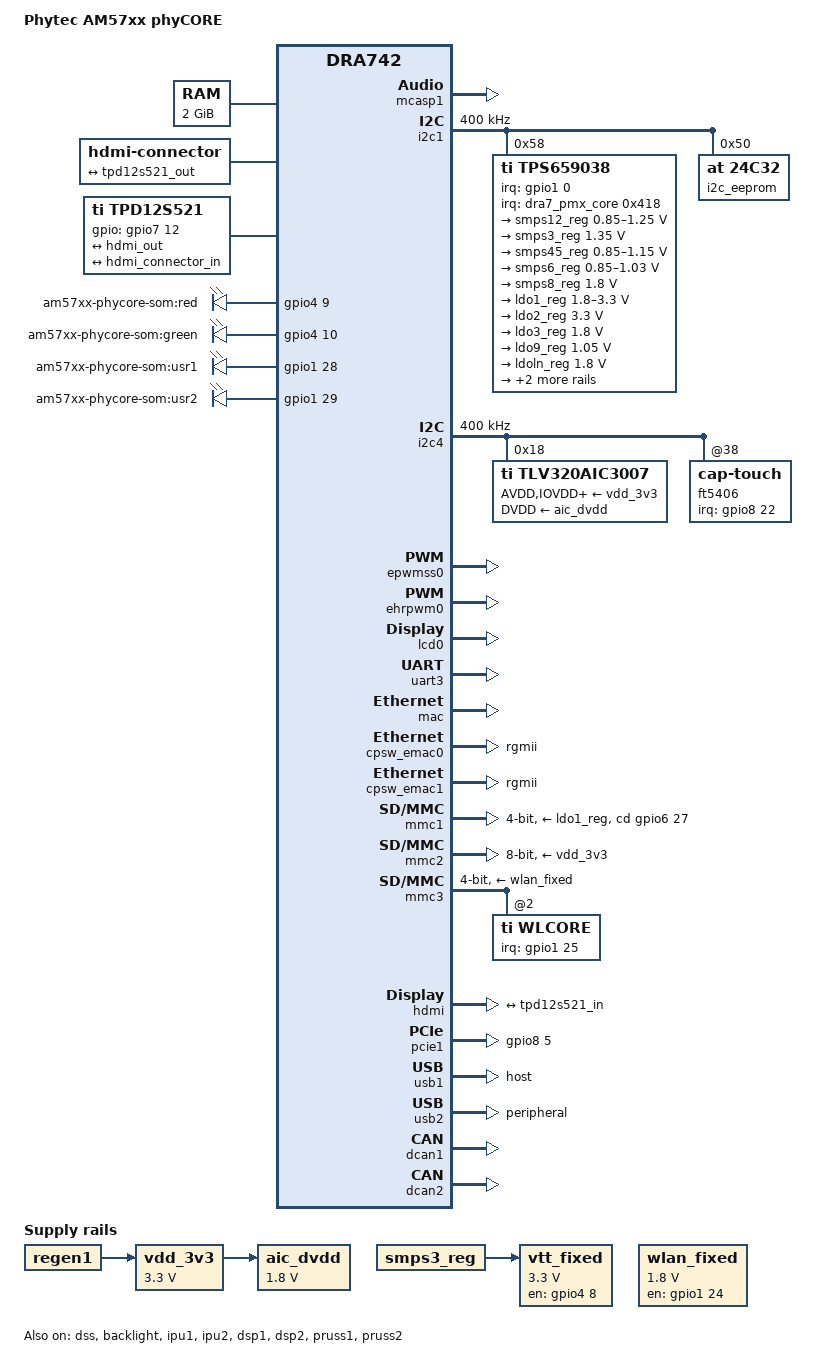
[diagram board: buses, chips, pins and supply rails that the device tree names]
/*
 * Copyright (C) 2014 Texas Instruments Incorporated - http://www.ti.com/
 *
 * This program is free software; you can redistribute it and/or modify
 * it under the terms of the GNU General Public License version 2 as
 * published by the Free Software Foundation.
 */
/dts-v1/;

#include "dra74x.dtsi"
#include <dt-bindings/gpio/gpio.h>
#include <dt-bindings/interrupt-controller/irq.h>

/ {
	model = "Phytec AM57xx phyCORE";
	compatible = "phytec,am57xx-phycore-som-complete", "ti,am5728", "ti,dra742", "ti,dra74", "ti,dra7";

	aliases {
		rtc0 = &rtc;
		rtc1 = &tps659038_rtc;
		display0 = &lcd0;
		display1 = &hdmi0;
		sound0 = &rdk_audio;
		sound1 = &hdmi;
	};

	memory {
		device_type = "memory";
		reg = <0x80000000 0x80000000>; /* 2GiB */
	};

	reserved-memory {
		#address-cells = <1>;
		#size-cells = <1>;
		ranges;

		ipu2_cma_pool: ipu2_cma@95800000 {
			compatible = "shared-dma-pool";
			reg = <0x95800000 0x3800000>;
			reusable;
			status = "okay";
		};

		dsp1_cma_pool: dsp1_cma@99000000 {
			compatible = "shared-dma-pool";
			reg = <0x99000000 0x4000000>;
			reusable;
			status = "okay";
		};

		ipu1_cma_pool: ipu1_cma@9d000000 {
			compatible = "shared-dma-pool";
			reg = <0x9d000000 0x2000000>;
			reusable;
			status = "okay";
		};

		dsp2_cma_pool: dsp2_cma@9f000000 {
			compatible = "shared-dma-pool";
			reg = <0x9f000000 0x800000>;
			reusable;
			status = "okay";
		};
	};

	ocp {
		mcasp1: mcasp@48460000 {
			compatible = "ti,dra7-mcasp1-audio";
			ti,hwmods = "mcasp1";
			reg = <0x48460000 0x2000>;
			reg-names = "mpu";
			interrupts = <GIC_SPI 104 IRQ_TYPE_LEVEL_HIGH>,
				     <GIC_SPI 103 IRQ_TYPE_LEVEL_HIGH>;
			interrupt-names = "tx", "rx";
			dmas = <&sdma 129 &dmacb>, <&sdma 128 &dmacb>;
			dma-names = "tx", "rx";
			clocks = <&mcasp1_ahclkr_mux>, <&mcasp1_ahclkx_mux>;
			clock-names = "ahclkr", "fck";
			status = "disabled";
		};

		gpu: gpu@0x56000000 {
			gpu0-voltdm = <&voltdm_gpu>;
		};
	};

	vdd_3v3: fixedregulator-vdd_3v3 {
		compatible = "regulator-fixed";
		regulator-name = "vdd_3v3";
		vin-supply = <&regen1>;
		regulator-min-microvolt = <3300000>;
		regulator-max-microvolt = <3300000>;
	};

	aic_dvdd: fixedregulator-aic_dvdd {
		compatible = "regulator-fixed";
		regulator-name = "aic_dvdd_fixed";
		vin-supply = <&vdd_3v3>;
		regulator-min-microvolt = <1800000>;
		regulator-max-microvolt = <1800000>;
	};

	vtt_fixed: fixedregulator-vtt {
		/* TPS51200 */
		compatible = "regulator-fixed";
		regulator-name = "vtt_fixed";
		vin-supply = <&smps3_reg>;
		regulator-min-microvolt = <3300000>;
		regulator-max-microvolt = <3300000>;
		regulator-always-on;
		regulator-boot-on;
		enable-active-high;
		gpio = <&gpio4 8 GPIO_ACTIVE_HIGH>;
	};

	wlan_fixed: fixedregulator-wlan {
		compatible = "regulator-fixed";
		regulator-name = "wlan_fixed";
		/*vin-supply = <&ldo1_reg>;*/
		regulator-min-microvolt = <1800000>;
		regulator-max-microvolt = <1800000>;

		/* WLAN_EN GPIO */
		gpio = <&gpio1 24 0>;
		enable-active-high;
	};

	hdmi0: connector@1 {
		compatible = "hdmi-connector";
		label = "hdmi";

		type = "a";

		port {
			hdmi_connector_in: endpoint {
				remote-endpoint = <&tpd12s521_out>;
			};
		};
	};

	tpd12s521: encoder@1 {
		compatible = "ti,tpd12s521";

		gpios = <&gpio7 12 GPIO_ACTIVE_HIGH>;	/* gpio7_12/sp1_cs2, HPD */

		ports {
			#address-cells = <1>;
			#size-cells = <0>;

			port@0 {
				reg = <0>;

				tpd12s521_in: endpoint@0 {
					remote-endpoint = <&hdmi_out>;
				};
			};

			port@1 {
				reg = <1>;

				tpd12s521_out: endpoint@0 {
					remote-endpoint = <&hdmi_connector_in>;
				};
			};
		};
	};

	leds {
		compatible = "gpio-leds";
		pinctrl-names = "default", "sleep";
		pinctrl-0 = <&leds_pins_default>;
		pinctrl-1 = <&leds_pins_sleep>;

		led@0 {
			label = "am57xx-phycore-som:red";
			gpios = <&gpio4 9 GPIO_ACTIVE_HIGH>;
			linux,default-trigger = "heartbeat";
			default-state = "off";
		};

		led@1 {
			label = "am57xx-phycore-som:green";
			gpios = <&gpio4 10 GPIO_ACTIVE_HIGH>;
			linux,default-trigger = "cpu0";
			default-state = "off";
		};

		led@2 {
			label = "am57xx-phycore-som:usr1";
			gpios = <&gpio1 28 GPIO_ACTIVE_HIGH>;
			linux,default-trigger = "gpio";
			default-state = "on";
		};

		led@3 {
			label = "am57xx-phycore-som:usr2";
			gpios = <&gpio1 29 GPIO_ACTIVE_HIGH>;
			linux,default-trigger = "gpio";
			default-state = "on";
		};
	};

	rdk_audio: sound {
		compatible = "phytec,pcm-948-audio";

		ti,model = "phyCORE-AM57xx-RDK";
		ti,audio-codec = <&tlv320aic3007>;
		ti,mcasp-controller = <&mcasp1>;
		clocks = <&clkout2_clk>;
		clock-names = "mclk";
		ti,audio-routing =
			"Line Out",	"LLOUT",
			"Line Out",	"RLOUT",

			"LINE1R",	"Line In",
			"LINE1R",	"Line In",

			"MIC3L",	"Mic Jack",
			"MIC3R",	"Mic Jack",
			"Mic Jack",	"Mic Bias",

			"Headphone Jack","HPLOUT",
			"Headphone Jack","HPROUT";
	};
};

&dra7_pmx_core {
	leds_pins_default: leds_pins_default {
		pinctrl-single,pins = <
			0x188 (PIN_OUTPUT | MUX_MODE14)	/* vin2a_d8.gpio4_9 */
			0x18c (PIN_OUTPUT | MUX_MODE14)	/* vin2a_d9.gpio4_10 */
			0x58 (PIN_OUTPUT | MUX_MODE14)	/* gpmc_a6.gpio1_28 */
			0x5c (PIN_OUTPUT | MUX_MODE14)	/* gpmc_a7.gpio1_29 */
		>;
	};

	leds_pins_sleep: leds_pins_sleep {
		pinctrl-single,pins = <
			0x188 (PIN_INPUT_PULLDOWN | MUX_MODE15)
			0x18c (PIN_INPUT_PULLDOWN | MUX_MODE15)
			0x58 (PIN_INPUT_PULLDOWN | MUX_MODE15)
			0x5c (PIN_INPUT_PULLDOWN | MUX_MODE15)
		>;
	};

	i2c1_pins_default: i2c1_pins_default {
		pinctrl-single,pins = <
			0x400 (PIN_INPUT_PULLUP | MUX_MODE0)	/* i2c1_sda.sda */
			0x404 (PIN_INPUT_PULLUP | MUX_MODE0)	/* i2c1_scl.scl */
		>;
	};

	i2c1_pins_sleep: i2c1_pins_sleep {
		pinctrl-single,pins = <
			0x400 (PIN_INPUT | MUX_MODE15)
			0x404 (PIN_INPUT | MUX_MODE15)
		>;
	};

	i2c2_pins: pinmux_i2c2_pins {
		pinctrl-single,pins = <
			0x408 (PIN_INPUT | MUX_MODE1) /* hdmi1_ddc_scl */
			0x40c (PIN_INPUT | MUX_MODE1) /* hdmi1_ddc_sda */
		>;
	};

	i2c4_pins_default: i2c4_pins_default {
		pinctrl-single,pins = <
			0x40 (PIN_INPUT_PULLUP | MUX_MODE7)	/* gpmc_a0.i2c4_scl */
			0x44 (PIN_INPUT_PULLUP | MUX_MODE7)	/* gpmc_a1.i2c4_sda */
		>;
	};

	i2c4_pins_sleep: i2c4_pins_sleep {
		pinctrl-single,pins = <
			0x40 (PIN_INPUT | MUX_MODE15)
			0x44 (PIN_INPUT | MUX_MODE15)
		>;
	};

	uart3_pins_default: uart3_pins_default {
		pinctrl-single,pins = <
			0x248 (PIN_INPUT_SLEW | MUX_MODE0) /* uart3_rxd.rxd */
			0x24c (PIN_INPUT_SLEW | MUX_MODE0) /* uart3_txd.txd */
		>;
	};

	uart3_pins_sleep: uart3_pins_sleep{
		pinctrl-single,pins = <
			0x248 (PIN_INPUT | MUX_MODE15)
			0x24c (PIN_INPUT | MUX_MODE15)
		>;
	};

	mmc1_pins_default: mmc1_pins_default {
		pinctrl-single,pins = <
			0x36c (PIN_INPUT | MUX_MODE14)	/* mmc1sdcd.gpio6_27 */
			0x354 (PIN_INPUT_PULLUP | MUX_MODE0) /* mmc1_clk.clk */
			0x358 (PIN_INPUT_PULLUP | MUX_MODE0) /* mmc1_cmd.cmd */
			0x35c (PIN_INPUT_PULLUP | MUX_MODE0) /* mmc1_dat0.dat0 */
			0x360 (PIN_INPUT_PULLUP | MUX_MODE0) /* mmc1_dat1.dat1 */
			0x364 (PIN_INPUT_PULLUP | MUX_MODE0) /* mmc1_dat2.dat2 */
			0x368 (PIN_INPUT_PULLUP | MUX_MODE0) /* mmc1_dat3.dat3 */
		>;
	};

	mmc1_pins_sleep: mmc1_pins_sleep {
		pinctrl-single,pins = <
			0x354 (PIN_INPUT | MUX_MODE15)
			0x358 (PIN_INPUT | MUX_MODE15)
			0x35c (PIN_INPUT | MUX_MODE15)
			0x360 (PIN_INPUT | MUX_MODE15)
			0x364 (PIN_INPUT | MUX_MODE15)
			0x368 (PIN_INPUT | MUX_MODE15)
			0x36c (PIN_INPUT | MUX_MODE15)
		>;
	};

	mmc1_pins_hs: mmc1_pins_hs {
		pinctrl-single,pins = <
			0x354 (PIN_INPUT_PULLUP | MUX_VIRTUAL_MODE11 | MUX_MODE0)       /* mmc1_clk.clk */
			0x358 (PIN_INPUT_PULLUP | MUX_VIRTUAL_MODE11 | MUX_MODE0)       /* mmc1_cmd.cmd */
			0x35c (PIN_INPUT_PULLUP | MUX_VIRTUAL_MODE11 | MUX_MODE0)       /* mmc1_dat0.dat0 */
			0x360 (PIN_INPUT_PULLUP | MUX_VIRTUAL_MODE11 | MUX_MODE0)       /* mmc1_dat1.dat1 */
			0x364 (PIN_INPUT_PULLUP | MUX_VIRTUAL_MODE11 | MUX_MODE0)       /* mmc1_dat2.dat2 */
			0x368 (PIN_INPUT_PULLUP | MUX_VIRTUAL_MODE11 | MUX_MODE0)       /* mmc1_dat3.dat3 */
		>;
	};

	mmc2_pins_default: mmc2_pins_default {
		pinctrl-single,pins = <
			0x9c (PIN_INPUT_PULLUP | MUX_MODE1) /* gpmc_a23.mmc2_clk */
			0xb0 (PIN_INPUT_PULLUP | MUX_MODE1) /* gpmc_cs1.mmc2_cmd */
			0xa0 (PIN_INPUT_PULLUP | MUX_MODE1) /* gpmc_a24.mmc2_dat0 */
			0xa4 (PIN_INPUT_PULLUP | MUX_MODE1) /* gpmc_a25.mmc2_dat1 */
			0xa8 (PIN_INPUT_PULLUP | MUX_MODE1) /* gpmc_a26.mmc2_dat2 */
			0xac (PIN_INPUT_PULLUP | MUX_MODE1) /* gpmc_a27.mmc2_dat3 */
			0x8c (PIN_INPUT_PULLUP | MUX_MODE1) /* gpmc_a19.mmc2_dat4 */
			0x90 (PIN_INPUT_PULLUP | MUX_MODE1) /* gpmc_a20.mmc2_dat5 */
			0x94 (PIN_INPUT_PULLUP | MUX_MODE1) /* gpmc_a21.mmc2_dat6 */
			0x98 (PIN_INPUT_PULLUP | MUX_MODE1) /* gpmc_a22.mmc2_dat7 */
		>;
	};

	mmc2_pins_sleep: mmc2_pins_sleep {
		pinctrl-single,pins = <
			0x9c (PIN_INPUT | MUX_MODE15)
			0xb0 (PIN_INPUT | MUX_MODE15)
			0xa0 (PIN_INPUT | MUX_MODE15)
			0xa4 (PIN_INPUT | MUX_MODE15)
			0xa8 (PIN_INPUT | MUX_MODE15)
			0xac (PIN_INPUT | MUX_MODE15)
			0x8c (PIN_INPUT | MUX_MODE15)
			0x90 (PIN_INPUT | MUX_MODE15)
			0x94 (PIN_INPUT | MUX_MODE15)
			0x98 (PIN_INPUT | MUX_MODE15)
		>;
	};

	mmc2_pins_hs: mmc2_pins_hs {
		pinctrl-single,pins = <
			0x9c (PIN_INPUT_PULLUP | MUX_VIRTUAL_MODE11 | MUX_MODE1) /* gpmc_a23.mmc2_clk */
			0xb0 (PIN_INPUT_PULLUP | MUX_VIRTUAL_MODE11 | MUX_MODE1) /* gpmc_cs1.mmc2_cmd */
			0xa0 (PIN_INPUT_PULLUP | MUX_VIRTUAL_MODE11 | MUX_MODE1) /* gpmc_a24.mmc2_dat0 */
			0xa4 (PIN_INPUT_PULLUP | MUX_VIRTUAL_MODE11 | MUX_MODE1) /* gpmc_a25.mmc2_dat1 */
			0xa8 (PIN_INPUT_PULLUP | MUX_VIRTUAL_MODE11 | MUX_MODE1) /* gpmc_a26.mmc2_dat2 */
			0xac (PIN_INPUT_PULLUP | MUX_VIRTUAL_MODE11 | MUX_MODE1) /* gpmc_a27.mmc2_dat3 */
			0x8c (PIN_INPUT_PULLUP | MUX_VIRTUAL_MODE11 | MUX_MODE1) /* gpmc_a19.mmc2_dat4 */
			0x90 (PIN_INPUT_PULLUP | MUX_VIRTUAL_MODE11 | MUX_MODE1) /* gpmc_a20.mmc2_dat5 */
			0x94 (PIN_INPUT_PULLUP | MUX_VIRTUAL_MODE11 | MUX_MODE1) /* gpmc_a21.mmc2_dat6 */
			0x98 (PIN_INPUT_PULLUP | MUX_VIRTUAL_MODE11 | MUX_MODE1) /* gpmc_a22.mmc2_dat7 */
		>;
	};

	mmc3_pins_default: mmc3_pins_default {
		pinctrl-single,pins = <
			0x37c (PIN_INPUT_PULLUP | MUX_MODE0) /* mmc3_clk.clk */
			0x380 (PIN_INPUT_PULLUP | MUX_MODE0) /* mmc3_cmd.cmd */
			0x384 (PIN_INPUT_PULLUP | MUX_MODE0) /* mmc3_dat0.dat0 */
			0x388 (PIN_INPUT_PULLUP | MUX_MODE0) /* mmc3_dat1.dat1 */
			0x38c (PIN_INPUT_PULLUP | MUX_MODE0) /* mmc3_dat2.dat2 */
			0x390 (PIN_INPUT_PULLUP | MUX_MODE0) /* mmc3_dat3.dat3 */
		>;
	};

	mmc3_pins_sleep: mmc3_pins_sleep {
		pinctrl-single,pins = <
			0x37c (PIN_INPUT_PULLDOWN | MUX_MODE15)
			0x380 (PIN_INPUT_PULLDOWN | MUX_MODE15)
			0x384 (PIN_INPUT_PULLDOWN | MUX_MODE15)
			0x388 (PIN_INPUT_PULLDOWN | MUX_MODE15)
			0x38c (PIN_INPUT_PULLDOWN | MUX_MODE15)
			0x390 (PIN_INPUT_PULLDOWN | MUX_MODE15)
		>;
	};

	mmc3_pins_hs: mmc3_pins_hs {
		pinctrl-single,pins = <
			0x37c (PIN_INPUT_PULLUP | MUX_VIRTUAL_MODE11 | MUX_MODE0) /* mmc3_clk.clk */
			0x380 (PIN_INPUT_PULLUP | MUX_VIRTUAL_MODE11 | MUX_MODE0) /* mmc3_cmd.cmd */
			0x384 (PIN_INPUT_PULLUP | MUX_VIRTUAL_MODE11 | MUX_MODE0) /* mmc3_dat0.dat0 */
			0x388 (PIN_INPUT_PULLUP | MUX_VIRTUAL_MODE11 | MUX_MODE0) /* mmc3_dat1.dat1 */
			0x38c (PIN_INPUT_PULLUP | MUX_VIRTUAL_MODE11 | MUX_MODE0) /* mmc3_dat2.dat2 */
			0x390 (PIN_INPUT_PULLUP | MUX_VIRTUAL_MODE11 | MUX_MODE0) /* mmc3_dat3.dat3 */
		>;
	};

	wlan_bt_pins_default: wlan_bt_pins_default {
		pinctrl-single,pins = <
			0x394 (PIN_OUTPUT_PULLDOWN | MUX_MODE14) /* mmc3_dat4.gpio1_22 */
			0x39c (PIN_OUTPUT_PULLDOWN | MUX_MODE14) /* mmc3_dat6.gpio1_24 */
			0x3a0 (PIN_INPUT_PULLUP | MUX_MODE14)  /* mmc3_dat7.gpio1_25 */
		>;
	};

	wlan_bt_pins_sleep: wlan_bt_pins_sleep {
		pinctrl-single,pins = <
			0x394 (PIN_INPUT | MUX_MODE15)
			0x39c (PIN_INPUT | MUX_MODE15)
			0x3a0 (PIN_INPUT_PULLUP | MUX_MODE14)
		>;
	};

	cpsw_pins_default: cpsw_pins_default {
		pinctrl-single,pins = <
			/* Slave 1 */
			0x250 (PIN_OUTPUT | MUX_MODE0)	/* rgmii1_tclk */
			0x254 (PIN_OUTPUT | MUX_MODE0)	/* rgmii1_tctl */
			0x258 (PIN_OUTPUT | MUX_MODE0)	/* rgmii1_td3 */
			0x25c (PIN_OUTPUT | MUX_MODE0)	/* rgmii1_td2 */
			0x260 (PIN_OUTPUT | MUX_MODE0)	/* rgmii1_td1 */
			0x264 (PIN_OUTPUT | MUX_MODE0)	/* rgmii1_td0 */
			0x268 (PIN_INPUT | MUX_MODE0)	/* rgmii1_rclk */
			0x26c (PIN_INPUT | MUX_MODE0)	/* rgmii1_rctl */
			0x270 (PIN_INPUT | MUX_MODE0)	/* rgmii1_rd3 */
			0x274 (PIN_INPUT | MUX_MODE0)	/* rgmii1_rd2 */
			0x278 (PIN_INPUT | MUX_MODE0)	/* rgmii1_rd1 */
			0x27c (PIN_INPUT | MUX_MODE0)	/* rgmii1_rd0 */

			/* Slave 2 */
			0x198 (PIN_OUTPUT | MUX_MODE3)	/* rgmii2_tclk */
			0x19c (PIN_OUTPUT | MUX_MODE3)	/* rgmii2_tctl */
			0x1a0 (PIN_OUTPUT | MUX_MODE3)	/* rgmii2_td3 */
			0x1a4 (PIN_OUTPUT | MUX_MODE3)	/* rgmii2_td2 */
			0x1a8 (PIN_OUTPUT | MUX_MODE3)	/* rgmii2_td1 */
			0x1ac (PIN_OUTPUT | MUX_MODE3)	/* rgmii2_td0 */
			0x1b0 (PIN_INPUT | MUX_MODE3)	/* rgmii2_rclk */
			0x1b4 (PIN_INPUT | MUX_MODE3)	/* rgmii2_rctl */
			0x1b8 (PIN_INPUT | MUX_MODE3)	/* rgmii2_rd3 */
			0x1bc (PIN_INPUT | MUX_MODE3)	/* rgmii2_rd2 */
			0x1c0 (PIN_INPUT | MUX_MODE3)	/* rgmii2_rd1 */
			0x1c4 (PIN_INPUT | MUX_MODE3)	/* rgmii2_rd0 */
		>;

	};

	cpsw_pins_sleep: cpsw_pins_sleep {
		pinctrl-single,pins = <
			/* Slave 1 */
			0x250 (PIN_INPUT | MUX_MODE15)
			0x254 (PIN_INPUT | MUX_MODE15)
			0x258 (PIN_INPUT | MUX_MODE15)
			0x25c (PIN_INPUT | MUX_MODE15)
			0x260 (PIN_INPUT | MUX_MODE15)
			0x264 (PIN_INPUT | MUX_MODE15)
			0x268 (PIN_INPUT | MUX_MODE15)
			0x26c (PIN_INPUT | MUX_MODE15)
			0x270 (PIN_INPUT | MUX_MODE15)
			0x274 (PIN_INPUT | MUX_MODE15)
			0x278 (PIN_INPUT | MUX_MODE15)
			0x27c (PIN_INPUT | MUX_MODE15)

			/* Slave 2 */
			0x198 (PIN_INPUT | MUX_MODE15)
			0x19c (PIN_INPUT | MUX_MODE15)
			0x1a0 (PIN_INPUT | MUX_MODE15)
			0x1a4 (PIN_INPUT | MUX_MODE15)
			0x1a8 (PIN_INPUT | MUX_MODE15)
			0x1ac (PIN_INPUT | MUX_MODE15)
			0x1b0 (PIN_INPUT | MUX_MODE15)
			0x1b4 (PIN_INPUT | MUX_MODE15)
			0x1b8 (PIN_INPUT | MUX_MODE15)
			0x1bc (PIN_INPUT | MUX_MODE15)
			0x1c0 (PIN_INPUT | MUX_MODE15)
			0x1c4 (PIN_INPUT | MUX_MODE15)
		>;
	};

	davinci_mdio_pins_default: davinci_mdio_pins_default {
		pinctrl-single,pins = <
			/* MDIO */
			0x23c (PIN_OUTPUT_PULLUP | MUX_MODE0)	/* mdio_mclk */
			0x240 (PIN_INPUT_PULLUP | MUX_MODE0)	/* mdio_d */
		>;
	};

	davinci_mdio_pins_sleep: davinci_mdio_pins_sleep {
		pinctrl-single,pins = <
			0x23c (PIN_INPUT | MUX_MODE15)
			0x240 (PIN_INPUT | MUX_MODE15)
		>;
	};

	tps659038_pins_default: tps659038_pins_default {
		pinctrl-single,pins = <
			0x418 (PIN_INPUT_PULLUP | MUX_MODE14)	/* wakeup0.gpio1_0 */
		>;
	};

	hdmi_pins: pinmux_hdmi_pins {
		pinctrl-single,pins = <
			0x3b8 	(PIN_INPUT | MUX_MODE14) /* spi1_cs2.gpio7_12 */
		>;
	};

	usb1_pins: pinmux_usb1_pins {
		pinctrl-single,pins = <
			0x280 (PIN_INPUT_SLEW | MUX_MODE0) /* usb1_drvvbus */
		>;
	};

	usb2_pins: pinmux_usb2_pins {
		pinctrl-single,pins = <
			0x284 (PIN_INPUT_SLEW | MUX_MODE0) /* usb2_drvvbus */
		>;
	};

	extcon_pins_default:  extcon_pins_default {
		pinctrl-single,pins = <
			0x1f4 (PIN_INPUT | MUX_MODE14) /* vout1_d6.gpio8_6 */
		>;
	};

	clkout2_pins_default: clkout2_pins_default {
		pinctrl-single,pins = <
			0x294 (PIN_OUTPUT_PULLDOWN | MUX_MODE9)	/* xref_clk0.clkout2 */
		>;
	};

	clkout2_pins_sleep: clkout2_pins_sleep {
		pinctrl-single,pins = <
			0x294 (PIN_INPUT | MUX_MODE15)	/* xref_clk0.clkout2 */
		>;
	};

	dcan1_pins: dcan1_pins {
		pinctrl-single,pins = <
			0x3d0 (PIN_OUTPUT_PULLUP | MUX_MODE0) /* dcan1_tx.tx */
			0x3d4 (PIN_INPUT_PULLUP | MUX_MODE0) /* dcan1_rx.rx */
		>;
	};

	dcan2_pins: dcan2_pins {
		pinctrl-single,pins = <
			0x288 (PIN_OUTPUT_PULLUP | MUX_MODE2) /* gpio6_14.dcan2_tx */
			0x28c (PIN_INPUT_PULLUP | MUX_MODE2) /* gpio6_15.dcan2_rx */
		>;
	};

	mcasp1_pins_default: mcasp1_pins_default {
		pinctrl-single,pins = <
			0x2a4 (PIN_INPUT_PULLDOWN | MUX_MODE0) /* mcasp1_aclkx.aclkx */
			0x2a8 (PIN_INPUT_PULLDOWN | MUX_MODE0) /* mcasp1_fsx.fsx */
			0x2ec (PIN_OUTPUT_PULLDOWN | MUX_MODE0) /* mcasp1_axr14.axr14 */
			0x2f0 (PIN_INPUT_PULLDOWN | MUX_MODE0) /* mcasp1_axr15.axr15 */
		>;
	};

	mcasp1_pins_sleep: mcasp1_pins_sleep {
		pinctrl-single,pins = <
			0x2a4 (PIN_INPUT | MUX_MODE15)
			0x2a8 (PIN_INPUT | MUX_MODE15)
			0x2ec (PIN_INPUT | MUX_MODE15)
			0x2f0 (PIN_INPUT | MUX_MODE15)
		>;
	};

	ehrpwm1a_pin: ehrpwm1a_pin {
		pinctrl-single,pins = <
			0xf4 (PIN_OUTPUT_PULLDOWN | MUX_MODE10) /* vin1a_d0.ehrpwm1A */
		>;
	};

	edt_ts_irq_pin: edt_ts_irq_pin {
		pinctrl-single,pins = <
			0x234 (PIN_INPUT_PULLUP | MUX_MODE14) /* vout1_d22.gpio8_22 */
		>;
	};

	display_en_pin: display_en_pin {
		pinctrl-single,pins = <
			0x238 (PIN_OUTPUT_PULLDOWN | MUX_MODE14) /* vout1_d23.gpio8_23 */
		>;
	};
};

&i2c1 {
	status = "okay";
	pinctrl-names = "default", "sleep";
	pinctrl-0 = <&i2c1_pins_default>;
	pinctrl-1 = <&i2c1_pins_sleep>;
	clock-frequency = <400000>;

	tps659038: tps659038@58 {
		compatible = "ti,tps659038";
		reg = <0x58>;
		interrupts-extended = <&gpio1 0 IRQ_TYPE_LEVEL_HIGH
			       &dra7_pmx_core 0x418>;

		pinctrl-names = "default";
		pinctrl-0 = <&tps659038_pins_default>;

		#interrupt-cells = <2>;
		interrupt-controller;

		ti,system-power-controller;

		tps659038_pmic {
			compatible = "ti,tps659038-pmic";

			regulators {
				smps12_reg: smps12 {
					/* VDD_MPU */
					regulator-name = "smps12";
					regulator-min-microvolt = <850000>;
					regulator-max-microvolt = <1250000>;
					regulator-always-on;
					regulator-boot-on;
				};

				smps3_reg: smps3 {
					/* VDD_DDR */
					regulator-name = "smps3";
					regulator-min-microvolt = <1350000>;
					regulator-max-microvolt = <1350000>;
					regulator-always-on;
					regulator-boot-on;
				};

				smps45_reg: smps45 {
					/* VDD_DSPEVE, VDD_IVA, VDD_GPU */
					regulator-name = "smps45";
					regulator-min-microvolt = <850000>;
					regulator-max-microvolt = <1150000>;
					regulator-always-on;
					regulator-boot-on;
				};

				smps6_reg: smps6 {
					/* VDD_CORE */
					regulator-name = "smps6";
					regulator-min-microvolt = <850000>;
					regulator-max-microvolt = <1030000>;
					regulator-always-on;
					regulator-boot-on;
				};

				/* SMPS7 unused */

				smps8_reg: smps8 {
					/* VDD_1V8 */
					regulator-name = "smps8";
					regulator-min-microvolt = <1800000>;
					regulator-max-microvolt = <1800000>;
					regulator-always-on;
					regulator-boot-on;
				};

				/* SMPS9 unused */

				ldo1_reg: ldo1 {
					/* VDD_SD  */
					regulator-name = "ldo1";
					regulator-min-microvolt = <1800000>;
					regulator-max-microvolt = <3300000>;
					regulator-boot-on;
				};

				ldo2_reg: ldo2 {
					/* VDD_SHV5 */
					regulator-name = "ldo2";
					regulator-min-microvolt = <3300000>;
					regulator-max-microvolt = <3300000>;
					regulator-always-on;
					regulator-boot-on;
				};

				ldo3_reg: ldo3 {
					/* VDDA_1V8_PHY */
					regulator-name = "ldo3";
					regulator-min-microvolt = <1800000>;
					regulator-max-microvolt = <1800000>;
					regulator-always-on;
					regulator-boot-on;
				};

				ldo9_reg: ldo9 {
					/* VDD_RTC */
					regulator-name = "ldo9";
					regulator-min-microvolt = <1050000>;
					regulator-max-microvolt = <1050000>;
					regulator-always-on;
					regulator-boot-on;
				};

				ldoln_reg: ldoln {
					/* VDDA_1V8_PLL */
					regulator-name = "ldoln";
					regulator-min-microvolt = <1800000>;
					regulator-max-microvolt = <1800000>;
					regulator-always-on;
					regulator-boot-on;
				};

				ldousb_reg: ldousb {
					/* VDDA_3V_USB: VDDA_USBHS33 */
					regulator-name = "ldousb";
					regulator-min-microvolt = <3300000>;
					regulator-max-microvolt = <3300000>;
					regulator-boot-on;
				};

				regen1: regen1 {
					/* VDD_3V3_ON */
					regulator-name = "regen1";
					regulator-boot-on;
					regulator-always-on;
				};
			};
		};

		tps659038_pwr_button: tps659038_pwr_button {
			compatible = "ti,palmas-pwrbutton";
			interrupt-parent = <&tps659038>;
			interrupts = <1 IRQ_TYPE_NONE>;
			wakeup-source;
			ti,palmas-long-press-seconds = <13>;
		};

		tps659038_rtc: tps659038_rtc {
			compatible = "ti,palmas-rtc";
			interrupt-parent = <&tps659038>;
			interrupts = <8 IRQ_TYPE_NONE>;
			wakeup-source;
		};

		tps659038_usb: tps659038_usb {
			compatible = "ti,palmas-usb-vid";
			ti,enable-vbus-detection;
			ti,enable-gpio-id-detection;
			id-gpios = <&gpio8 6 GPIO_ACTIVE_HIGH>;/* FIXME: RR: LOW */
		};
	}

	i2c_eeprom: eeprom@50 {
		status = "okay";
		compatible = "at,24c32";
		reg = <0x50>;
		pagesize = <32>;
	};
};

&i2c4 {
	status = "okay";
	pinctrl-names = "default", "sleep";
	pinctrl-0 = <&i2c4_pins_default>;
	pinctrl-1 = <&i2c4_pins_sleep>;
	clock-frequency = <400000>;

	tlv320aic3007: tlv320aic3007@18 {
		compatible = "ti,tlv320aic3007";
		reg = <0x18>;
		pinctrl-names = "default", "sleep";
		pinctrl-0 = <&clkout2_pins_default>;
		pinctrl-1 = <&clkout2_pins_sleep>;
		status = "okay";
		ai3x-micbias-vg = <2>;

		AVDD-supply = <&vdd_3v3>;
		IOVDD-supply = <&vdd_3v3>;
		DRVDD-supply = <&vdd_3v3>;
		DVDD-supply = <&aic_dvdd>;
	};

	ft5406: cap-touch@38 {
		pinctrl-names = "default";
		pinctrl-0 = <&edt_ts_irq_pin>;
		interrupt-parent = <&gpio8>;
		interrupts = <22 0>;
	};

	stmpe811: res-touch@41 {
		compatible = "st,stmpe811";
		reg = <0x41>;
		interrupt-parent = <&gpio6>;
		interrupts = <4 IRQ_TYPE_LEVEL_LOW>;
		interrupt-controller;

		status = "disabled";
		wakeup-source;
		st,autosleep-timeout = <1024>;

		stmpe_touchscreen {
			compatible = "st,stmpe-ts";
			st,sample-time = <4>;
			st,mod-12b = <1>;
			st,ref-sel = <0>;
			st,adc-freq = <1>;
			st,ave-ctrl = <1>;
			st,touch-det-delay = <2>;
			st,settling = <2>;
			st,fraction-z = <7>;
			st,i-drive = <1>;
		};
	};
};

&dss {
	ports {
		#address-cells = <1>;
		#size-cells = <0>;
		port {
			reg = <0>;

			dpi_out: endpoint {
				remote-endpoint = <&lcd_in>;
				data-lines = <24>;
			};
		};
	};
};

&epwmss0 {
	status = "okay";
};

&ehrpwm0 {
	status = "okay";
};

#include "am57xx-phytec-lcd-018.dtsi"

&lcd0 {
	status = "okay";
	pinctrl-names = "default";
	pinctrl-0 = <&display_en_pin>;

	enable-gpios = <&gpio8 23 GPIO_ACTIVE_HIGH>;
};

&backlight {
	status = "okay";
	pinctrl-names = "default";
	pinctrl-0 = <&ehrpwm1a_pin>;

	pwms = <&ehrpwm1 0 50000 0>;
};

&gpio4 {
	ti,no-reset-on-init;
	ti,no-idle-on-init;
};

&voltdm_mpu {
	vdd-supply = <&smps12_reg>;
};

&voltdm_dspeve {
	vdd-supply = <&smps45_reg>;
};

&voltdm_gpu {
	vdd-supply = <&smps45_reg>;
};

&voltdm_ivahd {
	vdd-supply = <&smps45_reg>;
};

&voltdm_core {
	vdd-supply = <&smps6_reg>;
};

&cpu0 {
	cpu0-voltdm = <&voltdm_mpu>;
	voltage-tolerance = <1>;
};

&uart3 {
        status = "okay";
        pinctrl-names = "default";
        pinctrl-0 = <&uart3_pins_default>;

	interrupts-extended = <&gic GIC_SPI 69 IRQ_TYPE_LEVEL_HIGH
			       &dra7_pmx_core 0x248>;
};

&mac {
	status = "okay";
	slaves = <2>;
	pinctrl-names = "default", "sleep";
	pinctrl-0 = <&cpsw_pins_default>;
	pinctrl-1 = <&cpsw_pins_sleep>;
	dual_emac;
};

&cpsw_emac0 {
	phy_id = <&davinci_mdio>, <1>;
	phy-mode = "rgmii";
	dual_emac_res_vlan = <1>;
};

&cpsw_emac1 {
	phy_id = <&davinci_mdio>, <2>;
	phy-mode = "rgmii";
	dual_emac_res_vlan = <2>;
};

&davinci_mdio {
	pinctrl-names = "default", "sleep";
	pinctrl-0 = <&davinci_mdio_pins_default>;
	pinctrl-1 = <&davinci_mdio_pins_sleep>;
};

&mmc1 {
	status = "okay";
	pinctrl-names = "default", "sleep", "hs";
	pinctrl-0 = <&mmc1_pins_default>;
	pinctrl-1 = <&mmc1_pins_sleep>;
	pinctrl-2 = <&mmc1_pins_hs>;
	vmmc-supply = <&ldo1_reg>;
	vmmc_aux-supply = <&vdd_3v3>;
	pbias-supply = <&pbias_regulator>;
	bus-width = <4>;
	cd-gpios = <&gpio6 27 0>; /* gpio 219 */
};

&mmc2 {
	status = "okay";
	pinctrl-names = "default", "sleep", "hs";
	pinctrl-0 = <&mmc2_pins_default>;
	pinctrl-1 = <&mmc2_pins_sleep>;
	pinctrl-2 = <&mmc2_pins_hs>;
	vmmc-supply = <&vdd_3v3>;
	bus-width = <8>;
	ti,non-removable;
	cap-mmc-dual-data-rate;
};

&mmc3 {
	status = "okay";
	pinctrl-names = "default", "sleep", "hs";
	pinctrl-0 = <&mmc3_pins_default &wlan_bt_pins_default>;
	pinctrl-1 = <&mmc3_pins_sleep>;
	pinctrl-2 = <&mmc3_pins_hs &wlan_bt_pins_default>;
	vmmc-supply = <&wlan_fixed>;
	bus-width = <4>;
	ti,non-removable;
	ti,needs-special-hs-handling;
	cap-power-off-card;
	keep-power-in-suspend;

	#address-cells = <1>;
	#size-cells = <0>;
	wlcore: wlcore@0 {
		compatible = "ti,wlcore";
		reg = <2>;
		interrupt-parent = <&gpio1>;
		interrupts = <25 IRQ_TYPE_NONE>;
	};
};

&dss {
	status = "okay";

	vdda_video-supply = <&ldoln_reg>;
};

&hdmi {
	status = "okay";
	vdda-supply = <&ldo3_reg>;
	pinctrl-names = "default";
	pinctrl-0 = <&hdmi_pins &i2c2_pins>;

	port {
		hdmi_out: endpoint {
			remote-endpoint = <&tpd12s521_in>;
		};
	};
};

&pcie1 {
	gpios = <&gpio8 5 GPIO_ACTIVE_LOW>;
};

&usb1 {
	dr_mode = "host";
	pinctrl-names = "default";
	pinctrl-0 = <&usb1_pins>;
};

&omap_dwc3_2 {
	extcon = <&tps659038_usb2>;
};

&usb2 {
	dr_mode = "peripheral";
	pinctrl-names = "default";
	pinctrl-0 = <&usb2_pins>;
};

&dcan1 {
	pinctrl-names = "default";
	pinctrl-0 = <&dcan1_pins>;
	status = "okay";
};

&dcan2 {
	pinctrl-names = "default";
	pinctrl-0 = <&dcan2_pins>;
	status = "okay";
};

&mcasp1 {
	pinctrl-names = "default", "sleep";
	pinctrl-0 = <&mcasp1_pins_default>;
	pinctrl-1 = <&mcasp1_pins_sleep>;
	status = "okay";

	op-mode = <0>;  /* MCASP_IIS_MODE */
	tdm-slots = <2>;
	/* mcasp1_axr14 = TX, mcasp1_axr15 = RX */
	serial-dir = <  /* 0: INACTIVE, 1: TX, 2: RX */
		0 0 0 0
		0 0 0 0
		0 0 0 0
		0 0 1 2
	>;
};


&mailbox3 {
	status = "okay";
	mbox_pru1_0: mbox_pru1_0 {
		status = "okay";
	};
	mbox_pru1_1: mbox_pru1_1 {
		status = "okay";
	};
};

&mailbox4 {
	status = "okay";
	mbox_pru2_0: mbox_pru2_0 {
		status = "okay";
	};
	mbox_pru2_1: mbox_pru2_1 {
		status = "okay";
	};
};

&mailbox5 {
	status = "okay";
	mbox_ipu1_legacy: mbox_ipu1_legacy {
		status = "okay";
	};
	mbox_dsp1_legacy: mbox_dsp1_legacy {
		status = "okay";
	};
};

&mailbox6 {
	status = "okay";
	mbox_ipu2_legacy: mbox_ipu2_legacy {
		status = "okay";
	};
	mbox_dsp2_legacy: mbox_dsp2_legacy {
		status = "okay";
	};
};

&mmu0_dsp1 {
	status = "okay";
};

&mmu1_dsp1 {
	status = "okay";
};

&mmu0_dsp2 {
	status = "okay";
};

&mmu1_dsp2 {
	status = "okay";
};

&mmu_ipu1 {
	status = "okay";
};

&mmu_ipu2 {
	status = "okay";
};

&ipu1 {
	status = "okay";
	memory-region = <&ipu1_cma_pool>;
	mboxes = <&mailbox5 &mbox_ipu1_legacy>;
	timers = <&timer11>;
	watchdog-timers = <&timer7>, <&timer8>;
};

&ipu2 {
	status = "okay";
	memory-region = <&ipu2_cma_pool>;
	mboxes = <&mailbox6 &mbox_ipu2_legacy>;
	timers = <&timer3>;
	watchdog-timers = <&timer4>, <&timer9>;
};

&dsp1 {
	status = "okay";
	memory-region = <&dsp1_cma_pool>;
	mboxes = <&mailbox5 &mbox_dsp1_legacy>;
	timers = <&timer5>;
	watchdog-timers = <&timer10>;
};

&dsp2 {
	status = "okay";
	memory-region = <&dsp2_cma_pool>;
	mboxes = <&mailbox6 &mbox_dsp2_legacy>;
	timers = <&timer6>;
};

&pruss1 {
	status = "okay";
	pru1_0: pru@4b234000 {
		mboxes = <&mailbox3 &mbox_pru1_0>;
		status = "okay";
	};

	pru1_1: pru@4b238000 {
		mboxes = <&mailbox3 &mbox_pru1_1>;
		status = "okay";
	};
};

&pruss2 {
	status = "okay";
	pru2_0: pru@4b2b4000 {
		mboxes = <&mailbox4 &mbox_pru2_0>;
		status = "okay";
	};

	pru2_1: pru@4b2b8000 {
		mboxes = <&mailbox4 &mbox_pru2_1>;
		status = "okay";
	};
};
#include "am57xx-evm-cmem.dtsi"
